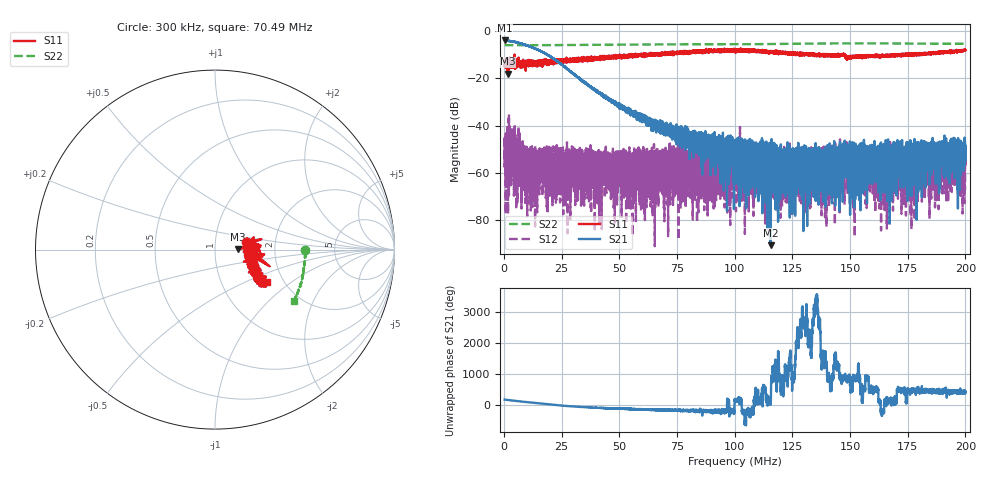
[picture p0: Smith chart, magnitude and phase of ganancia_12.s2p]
# Hz S DB R 50
! CMT, M5065, 19127446, 24.2.4/2
! Date: 11/8/2024 6:32:36 PM
! Data: Format (Calibration Info)
! Freq	S11:dB/Ang(F2)	S21:dB/Ang(F2)	S12:dB/Ang(F2)	S22:dB/Ang(F2)
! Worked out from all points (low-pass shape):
!   9000 points, 300 kHz to 200 MHz, reference 50 ohm
!   highest |S21| = -3.97 dB at 300 kHz (marker M1); lowest = -90.8 dB at 115.6 MHz (marker M2)
!   |S21| within 3 dB of the highest: start of sweep to 12.32 MHz; 12.34288 MHz to 12.40359 MHz (60.71 kHz wide, 0.491 % of centre)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
!   lowest |S11| = -18.0 dB at 1.587 MHz (marker M3), VSWR 1.29, Z = 64.4 + j0.254 ohm
!   |S11| at or under -10 dB: start of sweep to 4.649 MHz; 4.65 MHz to 50.18 MHz (45.54 MHz wide, 166 % of centre); 147.7 MHz to 160.9 MHz (13.26 MHz wide, 8.6 % of centre)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
!   |S22| runs from -6.0 to -5.2 dB; largest |S21 - S12| = 0.64
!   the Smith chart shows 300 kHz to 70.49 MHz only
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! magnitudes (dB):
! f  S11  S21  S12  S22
! 300 kHz  -15.0  -4.0  -55.4  -6.0
! 1.587 MHz  -18.0  -4.1  -51.3  -6.0
! 5.471 MHz  -14.0  -4.7  -58.4  -6.0
! 9.975 MHz  -13.5  -6.1  -64.2  -6.0
! 33.59 MHz  -11.2  -20.7  -53.5  -5.9
! 66.87 MHz  -9.6  -40.6  -58.9  -5.6
! 72.24 MHz  -9.1  -43.1  -62.1  -5.6
! 84.58 MHz  -8.9  -43.7  -55.2  -5.6
! 88.58 MHz  -8.3  -48.6  -53.9  -5.6
! 100.2 MHz  -8.4  -51.1  -52.1  -5.6
! 115.6 MHz  -8.8  -90.8  -53.1  -5.5
! 125.9 MHz  -9.4  -58.6  -58.1  -5.4
! 133.4 MHz  -10.0  -57.9  -56.3  -5.3
! 144.1 MHz  -10.4  -55.3  -64.8  -5.2
! 148 MHz  -11.3  -49.2  -54.8  -5.2
! 150.4 MHz  -10.5  -51.7  -59.3  -5.2
! 166.7 MHz  -10.6  -50.4  -61.4  -5.2
! 184.2 MHz  -9.2  -53.6  -52.0  -5.3
! 187 MHz  -9.3  -49.6  -62.2  -5.3
! 189.5 MHz  -8.6  -50.2  -61.0  -5.3
! 198.8 MHz  -8.2  -47.5  -50.4  -5.4
! 200 MHz  -8.2  -49.3  -50.4  -5.4
